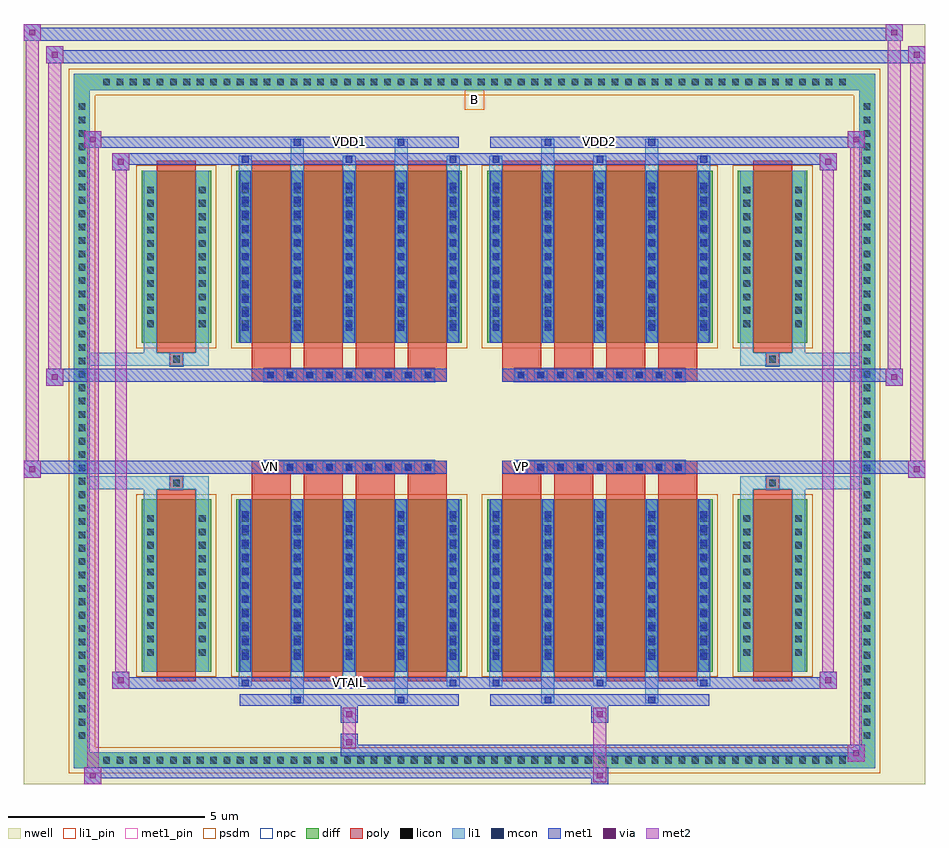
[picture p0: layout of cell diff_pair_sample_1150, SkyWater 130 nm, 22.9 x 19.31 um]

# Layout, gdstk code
import gdstk
lib = gdstk.Library(unit=1e-6, precision=5e-09)
def R(c, l, rs):  # rectangles x0, y0, x1, y1
    for r in rs: c.add(gdstk.rectangle(r[:2], r[2:], *l))
def A(c, l, x, y, w, h, nx, ny, dx, dy):  # array of equal rectangles
    R(c, l, [(x+i*dx, y+j*dy, x+i*dx+w, y+j*dy+h) for i in range(nx) for j in range(ny)])
def P(c, l, *ps):  # polygons
    for p in ps: c.add(gdstk.Polygon(p, *l))
nwell = (64, 20)
diff = (65, 20)
poly = (66, 20)
licon = (66, 44)
li1_pin = (67, 16)
li1 = (67, 20)
mcon = (67, 44)
met1_pin = (68, 16)
met1 = (68, 20)
via = (68, 44)
met2 = (69, 20)
psdm = (94, 20)
npc = (95, 20)

diff_pair_sample_1150 = lib.new_cell('diff_pair_sample_1150')
R(diff_pair_sample_1150, nwell, [(-11.45,-9.22,11.45,10.09), (-8.77,-7.41,-0.01,-0.805), (0.01,-7.41,8.77,-0.805), (-8.77,0.805,-0.01,7.41), (0.01,0.805,8.77,7.41)])
A(diff_pair_sample_1150, diff, -9.555, -8.82, 0.41, 0.41, 56, 2, 0.34, 17.23)
A(diff_pair_sample_1150, diff, -10.18, -8.195, 0.41, 0.41, 1, 48, 0, 0.34)
A(diff_pair_sample_1150, diff, 9.77, -8.195, 0.41, 0.41, 1, 48, 0, 0.34)
R(diff_pair_sample_1150, diff, [(-9.555,-8.82,9.555,-8.41), (-10.18,-8.195,-9.77,8.195), (9.77,-8.195,10.18,8.195), (-8.46,-6.365,-6.69,-1.985), (-6.05,-6.365,-0.32,-1.985), (0.32,-6.365,6.05,-1.985), (6.69,-6.365,8.46,-1.985), (-8.46,1.985,-6.69,6.365), (-6.05,1.985,-0.32,6.365), (0.32,1.985,6.05,6.365), (6.69,1.985,8.46,6.365), (-9.555,8.41,9.555,8.82)])
P(diff_pair_sample_1150, diff, [(10.18,8.82),(-10.18,8.82),(-10.18,-8.41),(-9.77,-8.41),(-9.77,8.41),(9.77,8.41),(9.77,-8.41),(-9.77,-8.41),(-10.18,-8.41),(-10.18,-8.82),(10.18,-8.82)])
A(diff_pair_sample_1150, poly, -5.66, -6.615, 0.99, 4.88, 4, 2, 1.32, 8.35)
A(diff_pair_sample_1150, poly, 0.71, -6.615, 0.99, 4.88, 4, 2, 1.32, 8.35)
A(diff_pair_sample_1150, poly, -5.66, -1.735, 0.99, 0.4, 4, 2, 1.32, 3.07)
A(diff_pair_sample_1150, poly, 0.71, -1.735, 0.99, 0.4, 4, 2, 1.32, 3.07)
A(diff_pair_sample_1150, poly, -5.35, -1.335, 0.33, 0.33, 9, 2, 0.5, 2.34)
A(diff_pair_sample_1150, poly, 1.02, -1.335, 0.33, 0.33, 9, 2, 0.5, 2.34)
R(diff_pair_sample_1150, poly, [(-8.07,-6.615,-7.08,-1.735), (7.08,-6.615,8.07,-1.735), (-7.74,-1.735,-7.41,-1.405), (-7.74,-1.735,-7.41,-1.405), (7.41,-1.735,7.74,-1.405), (7.41,-1.735,7.74,-1.405), (-5.66,-1.335,-0.71,-1.005), (0.71,-1.335,5.66,-1.005), (-5.66,1.005,-0.71,1.335), (0.71,1.005,5.66,1.335), (-7.74,1.405,-7.41,1.735), (-7.74,1.405,-7.41,1.735), (7.41,1.405,7.74,1.735), (7.41,1.405,7.74,1.735), (-8.07,1.735,-7.08,6.615), (7.08,1.735,8.07,6.615)])
A(diff_pair_sample_1150, licon, -9.435, -8.7, 0.17, 0.17, 56, 2, 0.34, 17.23)
A(diff_pair_sample_1150, licon, -10.06, -8.075, 0.17, 0.17, 1, 48, 0, 0.34)
A(diff_pair_sample_1150, licon, 9.89, -8.075, 0.17, 0.17, 1, 48, 0, 0.34)
A(diff_pair_sample_1150, licon, -8.32, -5.96, 0.17, 0.17, 1, 11, 0, 0.34)
A(diff_pair_sample_1150, licon, -7, -5.96, 0.17, 0.17, 1, 11, 0, 0.34)
A(diff_pair_sample_1150, licon, -5.91, -5.96, 0.17, 0.17, 5, 11, 1.32, 0.34)
A(diff_pair_sample_1150, licon, 0.46, -5.96, 0.17, 0.17, 5, 11, 1.32, 0.34)
A(diff_pair_sample_1150, licon, 6.83, -5.96, 0.17, 0.17, 1, 11, 0, 0.34)
A(diff_pair_sample_1150, licon, 8.15, -5.96, 0.17, 0.17, 1, 11, 0, 0.34)
A(diff_pair_sample_1150, licon, -5.27, -1.255, 0.17, 0.17, 9, 2, 0.5, 2.34)
A(diff_pair_sample_1150, licon, 1.1, -1.255, 0.17, 0.17, 9, 2, 0.5, 2.34)
A(diff_pair_sample_1150, licon, -8.32, 2.39, 0.17, 0.17, 1, 11, 0, 0.34)
A(diff_pair_sample_1150, licon, -7, 2.39, 0.17, 0.17, 1, 11, 0, 0.34)
A(diff_pair_sample_1150, licon, -5.91, 2.39, 0.17, 0.17, 5, 11, 1.32, 0.34)
A(diff_pair_sample_1150, licon, 0.46, 2.39, 0.17, 0.17, 5, 11, 1.32, 0.34)
A(diff_pair_sample_1150, licon, 6.83, 2.39, 0.17, 0.17, 1, 11, 0, 0.34)
A(diff_pair_sample_1150, licon, 8.15, 2.39, 0.17, 0.17, 1, 11, 0, 0.34)
R(diff_pair_sample_1150, licon, [(-7.66,-1.655,-7.49,-1.485), (7.49,-1.655,7.66,-1.485), (-7.66,1.485,-7.49,1.655), (7.49,1.485,7.66,1.655)])
R(diff_pair_sample_1150, li1_pin, [(-0.25,7.91,0.25,8.41)])
A(diff_pair_sample_1150, li1, -9.515, -8.78, 0.33, 0.33, 56, 2, 0.34, 17.23)
A(diff_pair_sample_1150, li1, -10.14, -8.155, 0.33, 0.33, 1, 48, 0, 0.34)
A(diff_pair_sample_1150, li1, 9.81, -8.155, 0.33, 0.33, 1, 48, 0, 0.34)
A(diff_pair_sample_1150, li1, -5.99, -6.74, 0.33, 0.375, 3, 2, 2.64, 13.105)
A(diff_pair_sample_1150, li1, -5.91, -6.74, 0.17, 0.17, 3, 2, 2.64, 13.31)
A(diff_pair_sample_1150, li1, 0.38, -6.74, 0.33, 0.375, 3, 2, 2.64, 13.105)
A(diff_pair_sample_1150, li1, 0.46, -6.74, 0.17, 0.17, 3, 2, 2.64, 13.31)
A(diff_pair_sample_1150, li1, -5.99, -6.365, 0.33, 4.38, 5, 2, 1.32, 8.35)
A(diff_pair_sample_1150, li1, 0.38, -6.365, 0.33, 4.38, 5, 2, 1.32, 8.35)
A(diff_pair_sample_1150, li1, -5.91, -6.06, 0.17, 0.17, 5, 11, 1.32, 0.36)
A(diff_pair_sample_1150, li1, -5.91, -6.06, 0.17, 3.77, 5, 2, 1.32, 8.35)
A(diff_pair_sample_1150, li1, 0.46, -6.06, 0.17, 0.17, 5, 11, 1.32, 0.36)
A(diff_pair_sample_1150, li1, 0.46, -6.06, 0.17, 3.77, 5, 2, 1.32, 8.35)
A(diff_pair_sample_1150, li1, -8.4, -6.04, 0.33, 0.33, 1, 11, 0, 0.34)
A(diff_pair_sample_1150, li1, -7.08, -6.04, 0.33, 0.33, 1, 11, 0, 0.34)
A(diff_pair_sample_1150, li1, -5.99, -6.04, 0.33, 0.33, 5, 11, 1.32, 0.34)
A(diff_pair_sample_1150, li1, 0.38, -6.04, 0.33, 0.33, 5, 11, 1.32, 0.34)
A(diff_pair_sample_1150, li1, 6.75, -6.04, 0.33, 0.33, 1, 11, 0, 0.34)
A(diff_pair_sample_1150, li1, 8.07, -6.04, 0.33, 0.33, 1, 11, 0, 0.34)
A(diff_pair_sample_1150, li1, -5.35, -1.335, 0.33, 0.33, 9, 2, 0.5, 2.34)
A(diff_pair_sample_1150, li1, 1.02, -1.335, 0.33, 0.33, 9, 2, 0.5, 2.34)
A(diff_pair_sample_1150, li1, -5.91, 2.29, 0.17, 0.17, 5, 11, 1.32, 0.36)
A(diff_pair_sample_1150, li1, 0.46, 2.29, 0.17, 0.17, 5, 11, 1.32, 0.36)
A(diff_pair_sample_1150, li1, -8.4, 2.31, 0.33, 0.33, 1, 11, 0, 0.34)
A(diff_pair_sample_1150, li1, -7.08, 2.31, 0.33, 0.33, 1, 11, 0, 0.34)
A(diff_pair_sample_1150, li1, -5.99, 2.31, 0.33, 0.33, 5, 11, 1.32, 0.34)
A(diff_pair_sample_1150, li1, 0.38, 2.31, 0.33, 0.33, 5, 11, 1.32, 0.34)
A(diff_pair_sample_1150, li1, 6.75, 2.31, 0.33, 0.33, 1, 11, 0, 0.34)
A(diff_pair_sample_1150, li1, 8.07, 2.31, 0.33, 0.33, 1, 11, 0, 0.34)
R(diff_pair_sample_1150, li1, [(-10.18,-8.82,-9.77,-8.41), (-10.18,-8.82,-9.77,-8.41), (-9.77,-8.82,9.77,-8.41), (9.77,-8.82,10.18,-8.41), (9.77,-8.82,10.18,-8.41), (-10.18,-8.41,-9.77,8.41), (9.77,-8.41,10.18,8.41), (-4.67,-7.17,-4.34,-6.365), (-4.59,-7.17,-4.42,-7), (-2.03,-7.17,-1.7,-6.365), (-1.95,-7.17,-1.78,-7), (1.7,-7.17,2.03,-6.365), (1.78,-7.17,1.95,-7), (4.34,-7.17,4.67,-6.365), (4.42,-7.17,4.59,-7), (-8.4,-6.365,-8.07,-1.985), (-7.08,-6.365,-6.75,-1.985), (6.75,-6.365,7.08,-1.985), (8.07,-6.365,8.4,-1.985), (-8.4,-1.985,-8.07,-1.405), (-7.08,-1.985,-6.75,-1.405), (6.75,-1.985,7.08,-1.405), (8.07,-1.985,8.4,-1.405), (-10.18,-1.735,-7.74,-1.405), (-8.4,-1.735,-7.74,-1.405), (-7.74,-1.735,-7.41,-1.405), (-7.41,-1.735,-6.75,-1.405), (6.75,-1.735,7.41,-1.405), (7.41,-1.735,7.74,-1.405), (7.41,-1.735,10.18,-1.405), (7.74,-1.735,8.4,-1.405), (-10.18,1.405,-7.74,1.735), (-8.4,1.405,-7.74,1.735), (-8.4,1.405,-8.07,1.985), (-7.74,1.405,-7.41,1.735), (-7.41,1.405,-6.75,1.735), (-7.08,1.405,-6.75,1.985), (6.75,1.405,7.41,1.735), (6.75,1.405,7.08,1.985), (7.41,1.405,7.74,1.735), (7.41,1.405,10.18,1.735), (7.74,1.405,8.4,1.735), (8.07,1.405,8.4,1.985), (-8.4,1.985,-8.07,6.365), (-7.08,1.985,-6.75,6.365), (6.75,1.985,7.08,6.365), (8.07,1.985,8.4,6.365), (-4.67,6.365,-4.34,7.17), (-2.03,6.365,-1.7,7.17), (1.7,6.365,2.03,7.17), (4.34,6.365,4.67,7.17), (-4.59,7,-4.42,7.17), (-1.95,7,-1.78,7.17), (1.78,7,1.95,7.17), (4.42,7,4.59,7.17), (-10.18,8.41,-9.77,8.82), (-10.18,8.41,-9.77,8.82), (-9.77,8.41,9.77,8.82), (9.77,8.41,10.18,8.82), (9.77,8.41,10.18,8.82)])
A(diff_pair_sample_1150, mcon, -5.91, -6.74, 0.17, 0.17, 3, 2, 2.64, 13.31)
A(diff_pair_sample_1150, mcon, 0.46, -6.74, 0.17, 0.17, 3, 2, 2.64, 13.31)
A(diff_pair_sample_1150, mcon, -5.91, -6.06, 0.17, 0.17, 5, 11, 1.32, 0.36)
A(diff_pair_sample_1150, mcon, 0.46, -6.06, 0.17, 0.17, 5, 11, 1.32, 0.36)
A(diff_pair_sample_1150, mcon, -5.27, -1.255, 0.17, 0.17, 9, 2, 0.5, 2.34)
A(diff_pair_sample_1150, mcon, 1.1, -1.255, 0.17, 0.17, 9, 2, 0.5, 2.34)
A(diff_pair_sample_1150, mcon, -5.91, 2.29, 0.17, 0.17, 5, 11, 1.32, 0.36)
A(diff_pair_sample_1150, mcon, 0.46, 2.29, 0.17, 0.17, 5, 11, 1.32, 0.36)
R(diff_pair_sample_1150, mcon, [(-4.59,-7.17,-4.42,-7), (-1.95,-7.17,-1.78,-7), (1.78,-7.17,1.95,-7), (4.42,-7.17,4.59,-7), (-4.59,7,-4.42,7.17), (-1.95,7,-1.78,7.17), (1.78,7,1.95,7.17), (4.42,7,4.59,7.17)])
R(diff_pair_sample_1150, met1_pin, [(-3.32,-6.78,-3.05,-6.51), (-5.32,-1.295,-5.05,-1.025), (1.05,-1.295,1.32,-1.025), (-3.32,6.96,-3.05,7.23), (3.05,6.96,3.32,7.23)])
A(diff_pair_sample_1150, met1, -5.97, -6.8, 0.29, 0.29, 3, 2, 2.64, 13.31)
A(diff_pair_sample_1150, met1, 0.4, -6.8, 0.29, 0.29, 3, 2, 2.64, 13.31)
A(diff_pair_sample_1150, met1, -5.97, -6.365, 0.29, 4.38, 5, 2, 1.32, 8.35)
A(diff_pair_sample_1150, met1, 0.4, -6.365, 0.29, 4.38, 5, 2, 1.32, 8.35)
A(diff_pair_sample_1150, met1, -5.97, -6.12, 0.29, 0.29, 5, 11, 1.32, 0.36)
A(diff_pair_sample_1150, met1, 0.4, -6.12, 0.29, 0.29, 5, 11, 1.32, 0.36)
A(diff_pair_sample_1150, met1, -5.33, -1.315, 0.29, 0.29, 9, 2, 0.5, 2.34)
A(diff_pair_sample_1150, met1, 1.04, -1.315, 0.29, 0.29, 9, 2, 0.5, 2.34)
A(diff_pair_sample_1150, met1, -5.97, 2.23, 0.29, 0.29, 5, 11, 1.32, 0.36)
A(diff_pair_sample_1150, met1, 0.4, 2.23, 0.29, 0.29, 5, 11, 1.32, 0.36)
R(diff_pair_sample_1150, met1, [(-9.91,-9.22,-9.48,-8.79), (2.97,-9.22,3.4,-8.79), (-9.91,-9.08,3.4,-8.79), (9.48,-8.65,9.91,-8.22), (-3.4,-8.51,9.91,-8.22), (-3.4,-8.37,-2.97,-7.94), (-3.4,-7.66,-2.97,-7.23), (2.97,-7.66,3.4,-7.23), (-5.97,-7.23,-0.4,-6.94), (-4.65,-7.23,-4.36,-6.94), (-2.01,-7.23,-1.72,-6.94), (0.4,-7.23,5.97,-6.94), (1.72,-7.23,2.01,-6.94), (4.36,-7.23,4.65,-6.94), (-9.2,-6.8,-8.77,-6.37), (-9.2,-6.8,-5.97,-6.51), (-5.97,-6.8,-0.4,-6.51), (-0.4,-6.8,0.4,-6.51), (0.4,-6.8,5.97,-6.51), (5.97,-6.8,9.2,-6.51), (8.77,-6.8,9.2,-6.37), (-11.45,-1.435,-11.02,-1.005), (11.02,-1.435,11.45,-1.005), (-11.45,-1.335,-0.71,-1.005), (-5.66,-1.335,-0.71,-1.005), (0.71,-1.335,5.66,-1.005), (0.71,-1.335,11.45,-1.005), (-10.88,0.905,-10.45,1.335), (10.45,0.905,10.88,1.335), (-10.88,1.005,-5.66,1.335), (-5.66,1.005,-0.71,1.335), (0.71,1.005,5.66,1.335), (5.66,1.005,10.88,1.335), (-9.2,6.37,-8.77,6.8), (8.77,6.37,9.2,6.8), (-9.2,6.51,-5.97,6.8), (-5.97,6.51,-0.4,6.8), (-0.4,6.51,0.4,6.8), (0.4,6.51,5.97,6.8), (5.97,6.51,9.2,6.8), (-9.91,6.94,-9.48,7.37), (-9.91,6.94,-5.97,7.23), (-5.97,6.94,-0.4,7.23), (-4.65,6.94,-4.36,7.23), (-2.01,6.94,-1.72,7.23), (0.4,6.94,5.97,7.23), (1.72,6.94,2.01,7.23), (4.36,6.94,4.65,7.23), (5.97,6.94,9.91,7.23), (9.48,6.94,9.91,7.37), (-10.88,9.09,-10.45,9.52), (-10.88,9.09,-8.77,9.42), (-8.77,9.09,8.77,9.42), (8.77,9.09,11.45,9.42), (11.02,9.09,11.45,9.52), (-11.45,9.66,-11.02,10.09), (-11.45,9.66,-8.77,9.99), (-8.77,9.66,8.77,9.99), (8.77,9.66,10.88,9.99), (10.45,9.66,10.88,10.09)])
R(diff_pair_sample_1150, via, [(-9.77,-9.08,-9.62,-8.93), (3.11,-9.08,3.26,-8.93), (9.62,-8.51,9.77,-8.36), (-3.26,-8.23,-3.11,-8.08), (-3.26,-7.52,-3.11,-7.37), (3.11,-7.52,3.26,-7.37), (-9.06,-6.66,-8.91,-6.51), (8.91,-6.66,9.06,-6.51), (-11.31,-1.295,-11.16,-1.145), (11.16,-1.295,11.31,-1.145), (-10.74,1.045,-10.59,1.195), (10.59,1.045,10.74,1.195), (-9.06,6.51,-8.91,6.66), (8.91,6.51,9.06,6.66), (-9.77,7.08,-9.62,7.23), (9.62,7.08,9.77,7.23), (-10.74,9.23,-10.59,9.38), (11.16,9.23,11.31,9.38), (-11.31,9.8,-11.16,9.95), (10.59,9.8,10.74,9.95)])
R(diff_pair_sample_1150, met2, [(-9.91,-9.22,-9.48,-8.79), (-9.84,-9.22,-9.55,7.37), (-9.55,-9.22,-9.48,-8.79), (-9.86,-9.17,-9.53,-8.84), (3.02,-9.17,3.35,-8.84), (3.02,-8.84,3.35,-7.61), (9.48,-8.65,9.91,-8.22), (9.55,-8.65,9.84,7.37), (9.84,-8.65,9.91,-8.22), (9.53,-8.6,9.86,-8.27), (-3.35,-8.32,-3.02,-7.99), (-3.35,-7.99,-3.02,-7.61), (-3.35,-7.61,-3.02,-7.28), (3.02,-7.61,3.35,-7.28), (-9.2,-6.8,-8.77,-6.37), (-9.13,-6.8,-8.84,6.8), (-8.84,-6.8,-8.77,-6.37), (8.77,-6.8,9.2,-6.37), (8.84,-6.8,9.13,6.8), (9.13,-6.8,9.2,-6.37), (-9.15,-6.75,-8.82,-6.42), (8.82,-6.75,9.15,-6.42), (-11.45,-1.435,-11.02,-1.005), (-11.4,-1.435,-11.07,10.09), (-11.07,-1.435,-11.02,-1.005), (11.02,-1.435,11.45,-1.005), (11.07,-1.435,11.4,9.52), (11.4,-1.435,11.45,-1.005), (-11.4,-1.385,-11.07,-1.055), (11.07,-1.385,11.4,-1.055), (-10.88,0.905,-10.45,1.335), (-10.83,0.905,-10.5,9.52), (-10.5,0.905,-10.45,1.335), (10.45,0.905,10.88,1.335), (10.5,0.905,10.83,10.09), (10.83,0.905,10.88,1.335), (-10.83,0.955,-10.5,1.285), (10.5,0.955,10.83,1.285), (-9.2,6.37,-8.77,6.8), (-8.84,6.37,-8.77,6.8), (8.77,6.37,9.2,6.8), (9.13,6.37,9.2,6.8), (-9.15,6.42,-8.82,6.75), (8.82,6.42,9.15,6.75), (-9.91,6.94,-9.48,7.37), (-9.55,6.94,-9.48,7.37), (9.48,6.94,9.91,7.37), (9.84,6.94,9.91,7.37), (-9.86,6.99,-9.53,7.32), (9.53,6.99,9.86,7.32), (-10.88,9.09,-10.45,9.52), (-10.5,9.09,-10.45,9.52), (11.02,9.09,11.45,9.52), (11.4,9.09,11.45,9.52), (-10.83,9.14,-10.5,9.47), (11.07,9.14,11.4,9.47), (-11.45,9.66,-11.02,10.09), (-11.07,9.66,-11.02,10.09), (10.45,9.66,10.88,10.09), (10.83,9.66,10.88,10.09), (-11.4,9.71,-11.07,10.04), (10.5,9.71,10.83,10.04)])
R(diff_pair_sample_1150, psdm, [(-8.59,-6.495,-6.56,-1.855), (-6.18,-6.495,-0.19,-1.855), (0.19,-6.495,6.18,-1.855), (6.56,-6.495,8.59,-1.855), (-8.59,1.855,-6.56,6.495), (-6.18,1.855,-0.19,6.495), (0.19,1.855,6.18,6.495), (6.56,1.855,8.59,6.495)])
P(diff_pair_sample_1150, psdm, [(10.31,8.95),(-10.31,8.95),(-10.31,-8.28),(-9.64,-8.28),(-9.64,8.28),(9.64,8.28),(9.64,-8.28),(-9.64,-8.28),(-10.31,-8.28),(-10.31,-8.95),(10.31,-8.95)])
A(diff_pair_sample_1150, npc, -5.37, -1.355, 0.37, 0.37, 9, 2, 0.5, 2.34)
A(diff_pair_sample_1150, npc, 1, -1.355, 0.37, 0.37, 9, 2, 0.5, 2.34)
R(diff_pair_sample_1150, npc, [(-7.76,-1.755,-7.39,-1.385), (7.39,-1.755,7.76,-1.385), (-5.37,-1.355,-4.5,-0.985), (-5.37,-1.355,-4.5,-0.985), (-4.87,-1.355,-4,-0.985), (-4.87,-1.355,-4,-0.985), (-4.37,-1.355,-3.5,-0.985), (-4.37,-1.355,-3.5,-0.985), (-3.87,-1.355,-3,-0.985), (-3.87,-1.355,-3,-0.985), (-3.37,-1.355,-2.5,-0.985), (-3.37,-1.355,-2.5,-0.985), (-2.87,-1.355,-2,-0.985), (-2.87,-1.355,-2,-0.985), (-2.37,-1.355,-1.5,-0.985), (-2.37,-1.355,-1.5,-0.985), (-1.87,-1.355,-1,-0.985), (-1.87,-1.355,-1,-0.985), (1,-1.355,1.87,-0.985), (1,-1.355,1.87,-0.985), (1.5,-1.355,2.37,-0.985), (1.5,-1.355,2.37,-0.985), (2,-1.355,2.87,-0.985), (2,-1.355,2.87,-0.985), (2.5,-1.355,3.37,-0.985), (2.5,-1.355,3.37,-0.985), (3,-1.355,3.87,-0.985), (3,-1.355,3.87,-0.985), (3.5,-1.355,4.37,-0.985), (3.5,-1.355,4.37,-0.985), (4,-1.355,4.87,-0.985), (4,-1.355,4.87,-0.985), (4.5,-1.355,5.37,-0.985), (4.5,-1.355,5.37,-0.985), (-5.37,0.985,-4.5,1.355), (-5.37,0.985,-4.5,1.355), (-4.87,0.985,-4,1.355), (-4.87,0.985,-4,1.355), (-4.37,0.985,-3.5,1.355), (-4.37,0.985,-3.5,1.355), (-3.87,0.985,-3,1.355), (-3.87,0.985,-3,1.355), (-3.37,0.985,-2.5,1.355), (-3.37,0.985,-2.5,1.355), (-2.87,0.985,-2,1.355), (-2.87,0.985,-2,1.355), (-2.37,0.985,-1.5,1.355), (-2.37,0.985,-1.5,1.355), (-1.87,0.985,-1,1.355), (-1.87,0.985,-1,1.355), (1,0.985,1.87,1.355), (1,0.985,1.87,1.355), (1.5,0.985,2.37,1.355), (1.5,0.985,2.37,1.355), (2,0.985,2.87,1.355), (2,0.985,2.87,1.355), (2.5,0.985,3.37,1.355), (2.5,0.985,3.37,1.355), (3,0.985,3.87,1.355), (3,0.985,3.87,1.355), (3.5,0.985,4.37,1.355), (3.5,0.985,4.37,1.355), (4,0.985,4.87,1.355), (4,0.985,4.87,1.355), (4.5,0.985,5.37,1.355), (4.5,0.985,5.37,1.355), (-7.76,1.385,-7.39,1.755), (7.39,1.385,7.76,1.755)])
diff_pair_sample_1150.add(gdstk.Label('VTAIL', (-3.185,-6.645), layer=68, texttype=5))
diff_pair_sample_1150.add(gdstk.Label('VN', (-5.185,-1.16), layer=68, texttype=5))
diff_pair_sample_1150.add(gdstk.Label('VP', (1.185,-1.16), layer=68, texttype=5))
diff_pair_sample_1150.add(gdstk.Label('B', (0,8.16), layer=67, texttype=5))
diff_pair_sample_1150.add(gdstk.Label('VDD2', (3.185,7.095), layer=68, texttype=5))
diff_pair_sample_1150.add(gdstk.Label('VDD1', (-3.185,7.095), layer=68, texttype=5))

lib.write_gds('diff_pair_sample_1150.gds')
